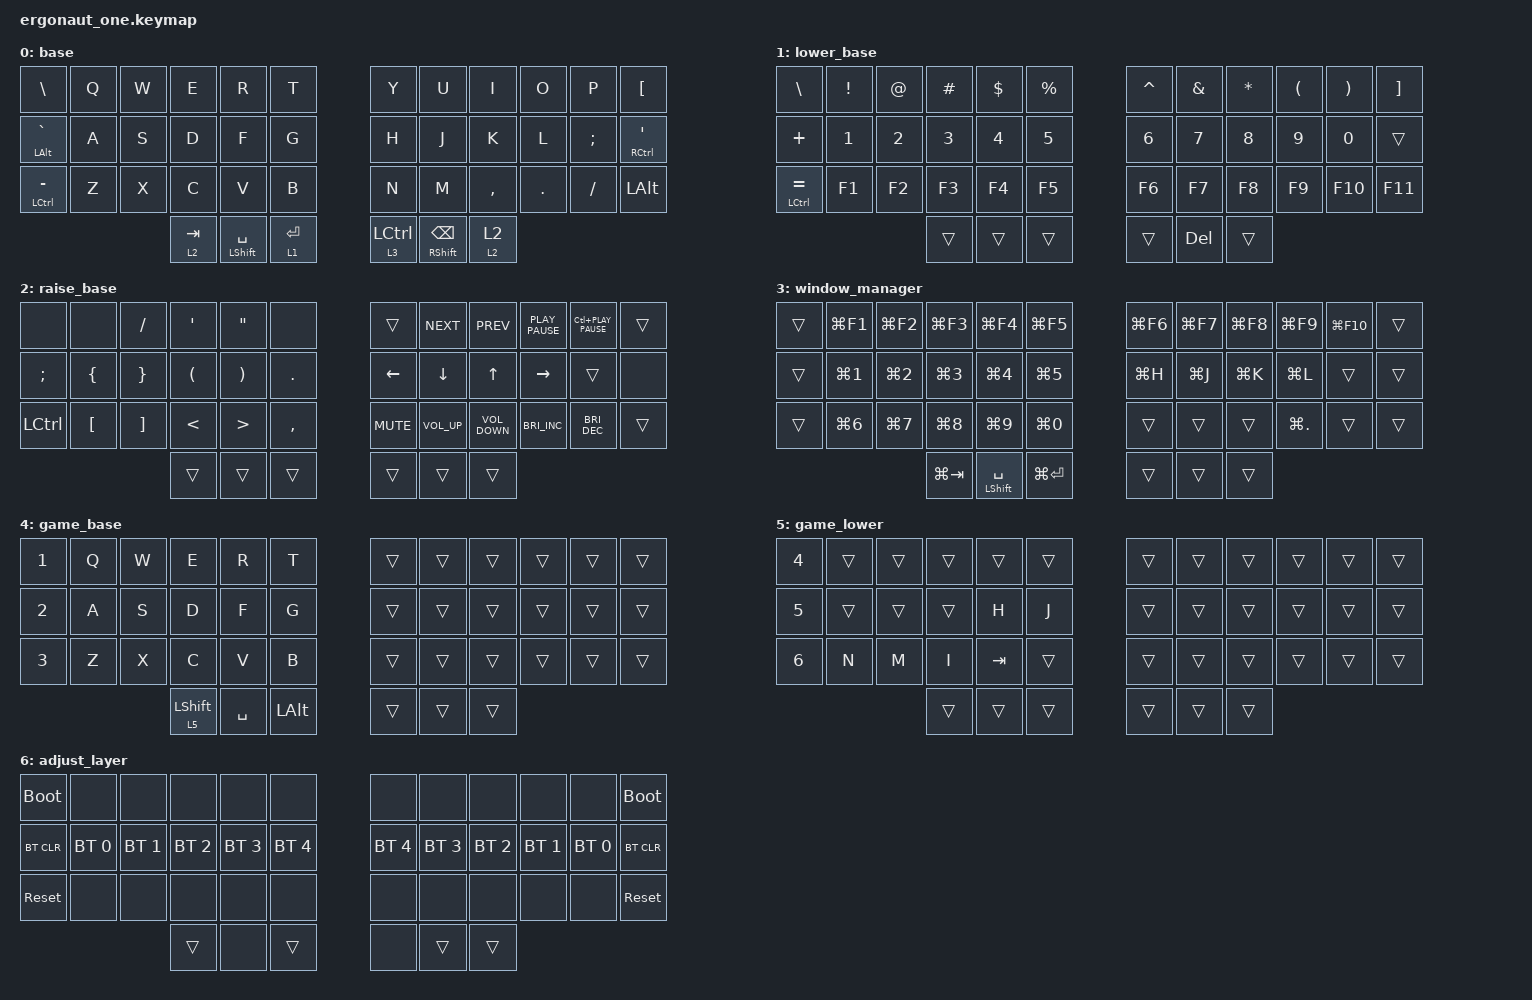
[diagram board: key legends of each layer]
#include <behaviors.dtsi>
#include <dt-bindings/zmk/bt.h>
#include <dt-bindings/zmk/keys.h>

#define DEF 0
#define LWR 1
#define RSE 2
#define ADJ 3

&lt { quick-tap-ms = <200>; };

&mt { quick-tap-ms = <200>; };

/ {
    conditional_layers {
        compatible = "zmk,conditional-layers";

        tri-layer {
            if-layers = <1 2>;
            then-layer = <6>;
        };
    };

    combos {
        compatible = "zmk,combos";

        game {
            bindings = <&tog 4>;
            key-positions = <17 38 37>;
        };

        Escape {
            bindings = <&kp ESCAPE>;
            key-positions = <15 16>;
            layers = <0 4>;
        };

        Meta_Escape_R {
            bindings = <&td_meta_esc>;
            key-positions = <19 20>;
        };

        CW_Letters {
            bindings = <&cw_letters>;
            key-positions = <37 40>;
        };

        Meta {
            bindings = <&sk LEFT_META>;
            key-positions = <14 16>;
        };
    };

    behaviors {
        td_meta_esc: td_meta_esc {
            compatible = "zmk,behavior-tap-dance";
            label = "TD META-ESC";
            #binding-cells = <0>;
            bindings = <&sk LEFT_META>, <&kp ESCAPE>;
        };

        cw_letters: cw_letters {
            compatible = "zmk,behavior-caps-word";
            label = "CW_LETTERS";
            #binding-cells = <0>;
            continue-list = <Q W E R T A S D F G Z X C V B Y U I O P H J K L N M UNDERSCORE MINUS SPACE BACKSPACE COMMA DOT>;
        };

        lsl: lsl {
            compatible = "zmk,behavior-hold-tap";
            label = "Layer/Sticky layer";
            bindings = <&mo>, <&sl>;

            #binding-cells = <2>;
            tapping-term-ms = <200>;
            quick-tap-ms = <200>;
            require-prior-idle-ms = <300>;
        };
    };

    keymap {
        compatible = "zmk,keymap";

        base {
            bindings = <
&kp BACKSLASH       &kp Q  &kp W  &kp E      &kp R            &kp T        &kp Y        &kp U           &kp I      &kp O    &kp P     &kp LEFT_BRACKET
&mt LEFT_ALT GRAVE  &kp A  &kp S  &kp D      &kp F            &kp G        &kp H        &kp J           &kp K      &kp L    &kp SEMI  &mt RCTRL SQT
&mt LCTRL MINUS     &kp Z  &kp X  &kp C      &kp V            &kp B        &kp N        &kp M           &kp COMMA  &kp DOT  &kp FSLH  &kp LEFT_ALT
                                  &lt 2 TAB  &mt LSHFT SPACE  &lt 1 ENTER  &lt 3 LCTRL  &mt RSHFT BSPC  &lsl 2 2
            >;
        };

        lower_base {
            bindings = <
&kp BACKSLASH           &kp EXCL  &kp AT  &kp HASH      &kp DOLLAR  &kp PERCENT  &kp CARET  &kp AMPS    &kp STAR  &kp LEFT_PARENTHESIS  &kp RIGHT_PARENTHESIS  &kp RIGHT_BRACKET
&kp PLUS                &kp N1    &kp N2  &kp NUMBER_3  &kp N4      &kp N5       &kp N6     &kp N7      &kp N8    &kp N9                &kp N0                 &trans
&mt LEFT_CONTROL EQUAL  &kp F1    &kp F2  &kp F3        &kp F4      &kp F5       &kp F6     &kp F7      &kp F8    &kp F9                &kp F10                &kp F11
                                          &trans        &trans      &trans       &trans     &kp DELETE  &trans
            >;
        };

        raise_base {
            bindings = <
&none             &none             &kp SLASH          &kp SINGLE_QUOTE      &kp DOUBLE_QUOTES      &none      &trans      &kp K_NEXT      &kp K_PREV         &kp K_PLAY_PAUSE  &kp LC(K_PLAY_PAUSE)  &trans
&kp SEMICOLON     &kp LEFT_BRACE    &kp RIGHT_BRACE    &kp LEFT_PARENTHESIS  &kp RIGHT_PARENTHESIS  &kp DOT    &kp LEFT    &kp DOWN_ARROW  &kp UP             &kp RIGHT         &trans                &none
&kp LEFT_CONTROL  &kp LEFT_BRACKET  &kp RIGHT_BRACKET  &kp LT                &kp GT                 &kp COMMA  &kp C_MUTE  &kp C_VOL_UP    &kp C_VOLUME_DOWN  &kp C_BRI_INC     &kp C_BRI_DEC         &trans
                                                       &trans                &trans                 &trans     &trans      &trans          &trans
            >;
        };

        window_manager {
            bindings = <
&trans  &kp LG(F1)  &kp LG(F2)  &kp LG(F3)   &kp LG(F4)            &kp LG(F5)     &kp LG(F6)  &kp LG(F7)  &kp LG(F8)  &kp LG(F9)      &kp LG(F10)  &trans
&trans  &kp LG(N1)  &kp LG(N2)  &kp LG(N3)   &kp LG(N4)            &kp LG(N5)     &kp LG(H)   &kp LG(J)   &kp LG(K)   &kp LG(L)       &trans       &trans
&trans  &kp LG(N6)  &kp LG(N7)  &kp LG(N8)   &kp LG(NUMBER_9)      &kp LG(N0)     &trans      &trans      &trans      &kp LG(PERIOD)  &trans       &trans
                                &kp LG(TAB)  &mt LEFT_SHIFT SPACE  &kp LG(ENTER)  &trans      &trans      &trans
            >;
        };

        game_base {
            bindings = <
&kp N1  &kp Q  &kp W  &kp E             &kp R      &kp T         &trans  &trans  &trans  &trans  &trans  &trans
&kp N2  &kp A  &kp S  &kp D             &kp F      &kp G         &trans  &trans  &trans  &trans  &trans  &trans
&kp N3  &kp Z  &kp X  &kp C             &kp V      &kp B         &trans  &trans  &trans  &trans  &trans  &trans
                      &lt 5 LEFT_SHIFT  &kp SPACE  &kp LEFT_ALT  &trans  &trans  &trans
            >;
        };

        game_lower {
            bindings = <
&kp N4  &trans  &trans  &trans  &trans   &trans  &trans  &trans  &trans  &trans  &trans  &trans
&kp N5  &trans  &trans  &trans  &kp H    &kp J   &trans  &trans  &trans  &trans  &trans  &trans
&kp N6  &kp N   &kp M   &kp I   &kp TAB  &trans  &trans  &trans  &trans  &trans  &trans  &trans
                        &trans  &trans   &trans  &trans  &trans  &trans
            >;
        };

        adjust_layer {
            bindings = <
&bootloader  &none         &none         &none         &none         &none         &none         &none         &none         &none         &none         &bootloader
&bt BT_CLR   &bt BT_SEL 0  &bt BT_SEL 1  &bt BT_SEL 2  &bt BT_SEL 3  &bt BT_SEL 4  &bt BT_SEL 4  &bt BT_SEL 3  &bt BT_SEL 2  &bt BT_SEL 1  &bt BT_SEL 0  &bt BT_CLR
&sys_reset   &none         &none         &none         &none         &none         &none         &none         &none         &none         &none         &sys_reset
                                         &trans        &none         &trans        &none         &trans        &trans
            >;
        };
    };
};
